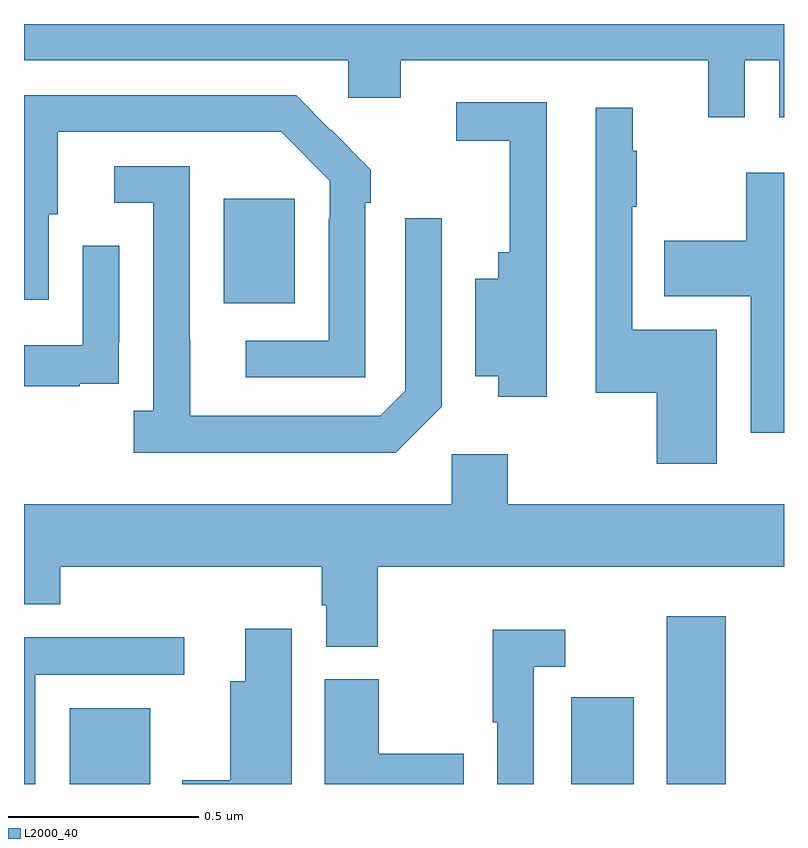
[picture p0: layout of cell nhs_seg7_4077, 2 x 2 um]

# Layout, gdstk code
import gdstk
lib = gdstk.Library(unit=1e-6, precision=1e-09)
def R(c, l, rs):  # rectangles x0, y0, x1, y1
    for r in rs: c.add(gdstk.rectangle(r[:2], r[2:], *l))
def P(c, l, *ps):  # polygons
    for p in ps: c.add(gdstk.Polygon(p, *l))
L2000_40 = (2000, 40)

nhs_seg7_4077 = lib.new_cell('nhs_seg7_4077')
R(nhs_seg7_4077, L2000_40, [(167.12,1044,167.332,1044.199), (168.44,1044,168.604,1044.228), (168.692,1044,168.847,1044.442), (167.525,1045.265,167.713,1045.54)])
P(nhs_seg7_4077, L2000_40, [(168.897,1045.904),(168.987,1045.904),(168.987,1045.755),(169,1045.755),(169,1046),(167,1046),(167,1045.904),(167.853,1045.904),(167.853,1045.806),(167.992,1045.806),(167.992,1045.904),(168.8,1045.904),(168.8,1045.755),(168.897,1045.755)],
  [(167.898,1045.529),(167.913,1045.529),(167.913,1045.617),(167.808,1045.722),(167.807,1045.721),(167.716,1045.812),(167,1045.812),(167,1045.275),(167.065,1045.275),(167.065,1045.5),(167.089,1045.5),(167.089,1045.716),(167.677,1045.716),(167.805,1045.587),(167.805,1045.487),(167.802,1045.487),(167.802,1045.167),(167.583,1045.167),(167.583,1045.071),(167.898,1045.071)],
  [(168.376,1045.295),(168.375,1045.295),(168.375,1045.794),(168.138,1045.794),(168.138,1045.693),(168.278,1045.693),(168.278,1045.399),(168.248,1045.399),(168.248,1045.33),(168.188,1045.33),(168.188,1045.073),(168.248,1045.073),(168.248,1045.019),(168.376,1045.019)],
  [(168.823,1045.195),(168.6,1045.195),(168.6,1045.519),(168.613,1045.519),(168.613,1045.667),(168.602,1045.667),(168.602,1045.78),(168.504,1045.78),(168.504,1045.03),(168.665,1045.03),(168.665,1044.843),(168.823,1044.843)],
  [(168.099,1044.993),(168.099,1045.489),(168.003,1045.489),(168.003,1045.035),(167.937,1044.969),(167.437,1044.969),(167.437,1045.169),(167.436,1045.169),(167.436,1045.626),(167.238,1045.626),(167.238,1045.53),(167.34,1045.53),(167.34,1044.982),(167.289,1044.982),(167.289,1044.872),(167.978,1044.872)],
  [(169,1045.609),(168.9,1045.609),(168.9,1045.43),(168.685,1045.43),(168.685,1045.283),(168.912,1045.283),(168.912,1044.924),(169,1044.924)],
  [(167.147,1045.053),(167.249,1045.053),(167.249,1045.162),(167.25,1045.162),(167.25,1045.417),(167.154,1045.417),(167.154,1045.155),(167,1045.155),(167,1045.047),(167.147,1045.047)],
  [(167.931,1044.572),(169,1044.572),(169,1044.736),(168.273,1044.736),(168.273,1044.868),(168.126,1044.868),(168.126,1044.736),(167,1044.736),(167,1044.473),(167.096,1044.473),(167.096,1044.572),(167.783,1044.572),(167.783,1044.471),(167.795,1044.471),(167.795,1044.361),(167.931,1044.361)],
  [(167.704,1044.409),(167.582,1044.409),(167.582,1044.271),(167.543,1044.271),(167.543,1044.01),(167.417,1044.01),(167.417,1044),(167.704,1044)],
  [(168.342,1044.309),(168.424,1044.309),(168.424,1044.406),(168.234,1044.406),(168.234,1044.163),(168.246,1044.163),(168.246,1044),(168.342,1044)],
  [(167.029,1044.288),(167.422,1044.288),(167.422,1044.386),(167,1044.386),(167,1044),(167.029,1044)],
  [(168.157,1044.08),(167.934,1044.08),(167.934,1044.276),(167.792,1044.276),(167.792,1044),(168.157,1044)])

lib.write_gds('nhs_seg7_4077.gds')
